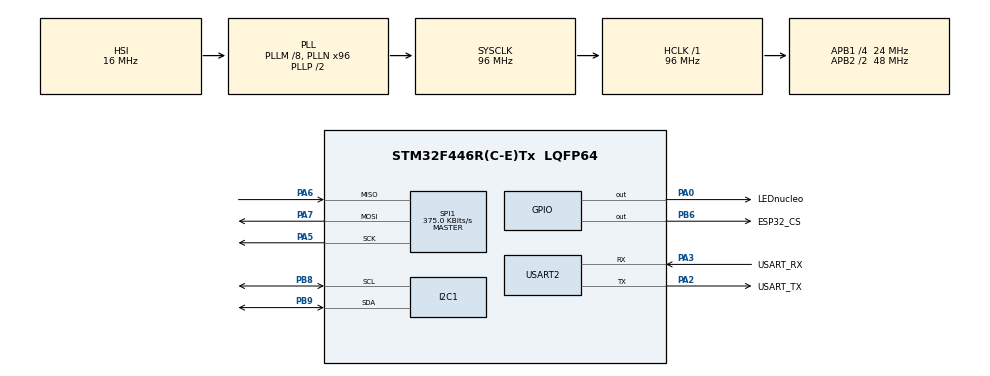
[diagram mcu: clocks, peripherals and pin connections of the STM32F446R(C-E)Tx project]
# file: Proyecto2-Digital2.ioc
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Mcu.Family=STM32F4
Mcu.Name=STM32F446R(C-E)Tx
Mcu.Package=LQFP64
NVIC.PriorityGroup=NVIC_PRIORITYGROUP_0
NVIC.TIM6_DAC_IRQn=true\:0\:0\:false\:false\:true\:true\:true\:true
NVIC.USART2_IRQn=true\:0\:0\:false\:false\:true\:true\:true\:true
PA0-WKUP.GPIO_Label=LEDnucleo
PA0-WKUP.Signal=GPIO_Output
PA13.GPIO_Label=TMS
PA13.Signal=SYS_JTMS-SWDIO
PA14.GPIO_Label=TCK
PA14.Signal=SYS_JTCK-SWCLK
PA2.GPIO_Label=USART_TX
PA2.Mode=Asynchronous
PA2.Signal=USART2_TX
PA3.GPIO_Label=USART_RX
PA3.Mode=Asynchronous
PA3.Signal=USART2_RX
PA5.Mode=Full_Duplex_Master
PA5.Signal=SPI1_SCK
PA6.Mode=Full_Duplex_Master
PA6.Signal=SPI1_MISO
PA7.Mode=Full_Duplex_Master
PA7.Signal=SPI1_MOSI
PB3.GPIO_Label=SWO
PB3.Signal=SYS_JTDO-SWO
PB6.GPIO_Label=ESP32_CS
PB6.GPIO_Speed=GPIO_SPEED_FREQ_HIGH
PB6.PinState=GPIO_PIN_SET
PB6.Signal=GPIO_Output
PB8.Mode=I2C
PB8.Signal=I2C1_SCL
PB9.Mode=I2C
PB9.Signal=I2C1_SDA
PC14-OSC32_IN.Signal=RCC_OSC32_IN
PC15-OSC32_OUT.Signal=RCC_OSC32_OUT
PH0-OSC_IN.Signal=RCC_OSC_IN
PH1-OSC_OUT.Signal=RCC_OSC_OUT
ProjectManager.HeapSize=0x200
ProjectManager.StackSize=0x400
ProjectManager.TargetToolchain=STM32CubeIDE
RCC.AHBFreq_Value=96000000
RCC.APB1CLKDivider=RCC_HCLK_DIV4
RCC.APB1Freq_Value=24000000
RCC.APB1TimFreq_Value=48000000
RCC.APB2CLKDivider=RCC_HCLK_DIV2
RCC.APB2Freq_Value=48000000
RCC.APB2TimFreq_Value=96000000
RCC.CortexFreq_Value=96000000
RCC.FLatency-AdvancedSettings=FLASH_LATENCY_3
RCC.HCLKFreq_Value=96000000
RCC.HSE_VALUE=8000000
RCC.HSI_VALUE=16000000
RCC.LSE_VALUE=32768
RCC.PLLM=8
RCC.PLLN=96
RCC.SYSCLKFreq_VALUE=96000000
RCC.SYSCLKSource=RCC_SYSCLKSOURCE_PLLCLK
RCC.USBFreq_Value=96000000
RCC.VCOOutputFreq_Value=192000000
SPI1.BaudRatePrescaler=SPI_BAUDRATEPRESCALER_128
SPI1.CalculateBaudRate=375.0 KBits/s
SPI1.Direction=SPI_DIRECTION_2LINES
SPI1.Mode=SPI_MODE_MASTER
SPI1.VirtualType=VM_MASTER
TIM6.AutoReloadPreload=TIM_AUTORELOAD_PRELOAD_ENABLE
TIM6.Period=500-1
TIM6.Prescaler=48000-1
USART2.VirtualMode=VM_ASYNC
VP_TIM6_VS_ClockSourceINT.Mode=Enable_Timer
board=NUCLEO-F446RE

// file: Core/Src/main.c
/* USER CODE BEGIN Header */
/**
  ******************************************************************************
  * @file           : main.c
  * @brief          : Main program body
  ******************************************************************************
  * @attention
  *
  * Copyright (c) 2026 STMicroelectronics.
  * All rights reserved.
  *
  * This software is licensed under terms that can be found in the LICENSE file
  * in the root directory of this software component.
  * If no LICENSE file comes with this software, it is provided AS-IS.
  *
  ******************************************************************************
  */
/* USER CODE END Header */
#include "main.h"

/* USER CODE BEGIN Includes */
#include <stdint.h>
#include <stdio.h>
#include <stdbool.h>
#include <ctype.h>
#include <string.h>
#include <stdlib.h>

/* USER CODE END Includes */

/* USER CODE BEGIN PD */

#define ESP32_I2C_ADDR (0x28U << 1) //Dirección del ESP32 pero desplazada un bit a la izquierda

/* USER CODE END PD */

I2C_HandleTypeDef hi2c1;

SPI_HandleTypeDef hspi1;

TIM_HandleTypeDef htim6;

UART_HandleTypeDef huart2;

/* USER CODE BEGIN PV */
//INTRODUCCIÓN DEL MENÚ
uint8_t inicio=0;
uint8_t intro[]="Escoger una de las opciones:\r\n";
uint8_t opcion1[]="1. Controlar dispostivo SPI\r\n";
uint8_t opcion2[]="2. Obtener mediciones de sensor I2C\r\n";
uint8_t respuesta[1];
uint8_t res1[]="Usted ha escogido controlar el dispositivo SPI\r\n";
uint8_t res2[]="Usted ha escogido obtener las mediciones del sensor I2C\r\n";
uint8_t error[]="Error! Prueba otra vez!\r\n";

//OPCIÓN 1
uint8_t intro2[]="En esta parte debe enviar numeros enteros. No incluya dimensionales y separe sus respuesta con coma. Por ejemplo: '1,500'.\r\n";
uint8_t pregLED[]="Escoja el LED que desea encender: verde (1), amarillo (2), rojo (3)\r\n";
uint8_t pregTIEM[]="Escoja la cantidad de tiempo que desea encender el LED en milisegundos\r\n";

char buffer[16];
uint8_t txSPI[4];
uint8_t rxSPI[4];
long ms, led;

/* USER CODE END PV */

void SystemClock_Config(void);
static void MX_GPIO_Init(void);
static void MX_USART2_UART_Init(void);
static void MX_SPI1_Init(void);
static void MX_TIM6_Init(void);
static void MX_I2C1_Init(void);
/* USER CODE BEGIN PFP */
bool esNumero(const char *s);
uint8_t leerLinea(char *buf, uint8_t max);
static void enviarTexto(const char *texto);
static void medirPotenciometro(void);

/* USER CODE END PFP */

/* USER CODE BEGIN 0 */

// Comunicación con el I2C
static void enviarTexto(const char *texto){
  HAL_UART_Transmit(&huart2, (uint8_t *)texto, (uint16_t)strlen(texto), 100);
  	  //*texto = puntero, dónde empieza el texto
  	  //strlen mide cuántos caracteres tiene
}

static void medirPotenciometro(void){
  uint8_t comando = 'M';
  uint8_t respuesta[2] = {0, 0};
  uint16_t lectura;
  char mensaje[80];

  /* Solicitar una nueva medicion al ESP32. */
  if (HAL_I2C_Master_Transmit(&hi2c1, ESP32_I2C_ADDR, &comando, 1, 100) != HAL_OK){ //Nucleo manda M y si no está bien = error
    enviarTexto("\r\nError: el ESP32 no recibio la solicitud I2C.\r\n");
    return;
  }

  /* Esperar a que el ESP32 lo lea y de la respuesta  */
  HAL_Delay(20);

  if (HAL_I2C_Master_Receive(&hi2c1, ESP32_I2C_ADDR, respuesta, 2, 100) != HAL_OK)  { //Pide 2 bytes y los guarda en respuesta
    enviarTexto("\r\nError: no se recibio la medicion I2C.\r\n");
    return;
  }

  lectura = ((uint16_t)respuesta[0] << 8) | respuesta[1]; //Une 2 bytes en un solo número

  //Seguridad, no más de 4095
  if (lectura > 4095U)  {
    enviarTexto("\r\nError: medicion fuera del rango del ADC.\r\n");
    return;
  }

  //Armar texto
  snprintf(mensaje,
           sizeof(mensaje),
           "\r\nPot1: %u (ADC 0-4095); valor LCD: %u (0-255)\r\n",
           (unsigned int)lectura,
           (unsigned int)(lectura / 16U));

  enviarTexto(mensaje);
}

/* USER CODE END 0 */

int main(void)
{

  /* MCU Configuration--------------------------------------------------------*/

  /* Reset of all peripherals, Initializes the Flash interface and the Systick. */
  HAL_Init();

  /* Configure the system clock */
  SystemClock_Config();

  /* Initialize all configured peripherals */
  MX_GPIO_Init();
  MX_USART2_UART_Init();
  MX_SPI1_Init();
  MX_TIM6_Init();
  MX_I2C1_Init();

  /* Infinite loop */
  /* USER CODE BEGIN WHILE */
  while (1)
  {
	  if(inicio==0){
		  //Introducción
		  HAL_UART_Transmit(&huart2, intro, sizeof(intro), 1000);
		  HAL_UART_Transmit(&huart2, opcion1, sizeof(opcion1), 1000);
		  HAL_UART_Transmit(&huart2, opcion2, sizeof(opcion2), 1000);
		  HAL_UART_Receive(&huart2, respuesta, 1, HAL_MAX_DELAY);

		  //Recepción de respuesta
		  //Opción 1
		  if(respuesta[0]=='1'){
			  HAL_UART_Transmit(&huart2, res1, sizeof(res1), 1000);
			  inicio=1;

			  HAL_UART_Transmit(&huart2, intro2, sizeof(intro2), 1000);
			  HAL_UART_Transmit(&huart2, pregLED, sizeof(pregLED), 1000);
			  HAL_UART_Transmit(&huart2, pregTIEM, sizeof(pregTIEM), 1000);

			  //Verificar que la respuesta sea válida
			  leerLinea(buffer, sizeof(buffer));

			  // Validar
			  bool valido = false;
			  char *t1 = strtok(buffer, ","); //STRTOK corta en pedazos
			  char *t2 = strtok(NULL, ","); //NULL = mismo texto
			  if (t1 && t2 && esNumero(t1) && esNumero(t2)) { //¿Existen ambos pedazos? ¿Ambos son números?
			      led = atol(t1);
			      ms  = atol(t2);
			      valido = (led >= 1 && led <= 3 && ms > 0 && ms <= 65535); //Valor de tiempo entre 0 y 65535 (max de 2 bytes)
			  }

			  if (valido) {
			  //[LED, ms_alto, ms_bajo, 0]
			      txSPI[0] = (uint8_t)led;
			      txSPI[1] = (uint8_t)(ms >> 8); //alto
			      txSPI[2] = (uint8_t)(ms & 0xFF); //bajo
			      txSPI[3] = 0; //relleno

			      HAL_GPIO_WritePin(ESP32_CS_GPIO_Port, ESP32_CS_Pin, GPIO_PIN_RESET);
			      HAL_SPI_TransmitReceive(&hspi1, txSPI, rxSPI, 4, 1000);
			      HAL_GPIO_WritePin(ESP32_CS_GPIO_Port, ESP32_CS_Pin, GPIO_PIN_SET);

			   //Generar señal cuadrada
			      HAL_TIM_Base_Stop_IT(&htim6);
			      __HAL_TIM_SET_AUTORELOAD(&htim6, ms-1); //Da 1000 pulsos por segundo
			      __HAL_TIM_SET_COUNTER(&htim6, 0); //Reinicia cuenta en 0
			      HAL_TIM_GenerateEvent(&htim6, TIM_EVENTSOURCE_UPDATE); //Carga nuevo valor y borra alarma
			      __HAL_TIM_CLEAR_FLAG(&htim6, TIM_FLAG_UPDATE);
			      HAL_GPIO_WritePin(LEDnucleo_GPIO_Port, LEDnucleo_Pin, GPIO_PIN_RESET);
			      HAL_TIM_Base_Start_IT(&htim6);

			  }

			  else {
				  HAL_UART_Transmit(&huart2, error, sizeof(error), 1000);
				      // Volver al menú
			  }
			  inicio = 0;
		  }

		  //Opción 2
		  else if(respuesta[0]=='2'){
			  HAL_UART_Transmit(&huart2, res2, sizeof(res2), 1000);
			  inicio=1;
			  medirPotenciometro();
		  }

		  //Opción inválida
		  else{
			  HAL_UART_Transmit(&huart2, error, sizeof(error), 1000);
		  }
		  inicio=0;

	  }

    /* USER CODE END WHILE */

  }
}

void SystemClock_Config(void)
{
  RCC_OscInitTypeDef RCC_OscInitStruct = {0};
  RCC_ClkInitTypeDef RCC_ClkInitStruct = {0};

  /** Configure the main internal regulator output voltage
  */
  __HAL_RCC_PWR_CLK_ENABLE();
  __HAL_PWR_VOLTAGESCALING_CONFIG(PWR_REGULATOR_VOLTAGE_SCALE3);

  /** Initializes the RCC Oscillators according to the specified parameters
  * in the RCC_OscInitTypeDef structure.
  */
  RCC_OscInitStruct.OscillatorType = RCC_OSCILLATORTYPE_HSI;
  RCC_OscInitStruct.HSIState = RCC_HSI_ON;
  RCC_OscInitStruct.HSICalibrationValue = RCC_HSICALIBRATION_DEFAULT;
  RCC_OscInitStruct.PLL.PLLState = RCC_PLL_ON;
  RCC_OscInitStruct.PLL.PLLSource = RCC_PLLSOURCE_HSI;
  RCC_OscInitStruct.PLL.PLLM = 8;
  RCC_OscInitStruct.PLL.PLLN = 96;
  RCC_OscInitStruct.PLL.PLLP = RCC_PLLP_DIV2;
  RCC_OscInitStruct.PLL.PLLQ = 2;
  RCC_OscInitStruct.PLL.PLLR = 2;
  if (HAL_RCC_OscConfig(&RCC_OscInitStruct) != HAL_OK)
  {
    Error_Handler();
  }

  /** Initializes the CPU, AHB and APB buses clocks
  */
  RCC_ClkInitStruct.ClockType = RCC_CLOCKTYPE_HCLK|RCC_CLOCKTYPE_SYSCLK
                              |RCC_CLOCKTYPE_PCLK1|RCC_CLOCKTYPE_PCLK2;
  RCC_ClkInitStruct.SYSCLKSource = RCC_SYSCLKSOURCE_PLLCLK;
  RCC_ClkInitStruct.AHBCLKDivider = RCC_SYSCLK_DIV1;
  RCC_ClkInitStruct.APB1CLKDivider = RCC_HCLK_DIV4;
  RCC_ClkInitStruct.APB2CLKDivider = RCC_HCLK_DIV2;

  if (HAL_RCC_ClockConfig(&RCC_ClkInitStruct, FLASH_LATENCY_3) != HAL_OK)
  {
    Error_Handler();
  }
}

static void MX_I2C1_Init(void)
{

  hi2c1.Instance = I2C1;
  hi2c1.Init.ClockSpeed = 100000;
  hi2c1.Init.DutyCycle = I2C_DUTYCYCLE_2;
  hi2c1.Init.OwnAddress1 = 0;
  hi2c1.Init.AddressingMode = I2C_ADDRESSINGMODE_7BIT;
  hi2c1.Init.DualAddressMode = I2C_DUALADDRESS_DISABLE;
  hi2c1.Init.OwnAddress2 = 0;
  hi2c1.Init.GeneralCallMode = I2C_GENERALCALL_DISABLE;
  hi2c1.Init.NoStretchMode = I2C_NOSTRETCH_DISABLE;
  if (HAL_I2C_Init(&hi2c1) != HAL_OK)
  {
    Error_Handler();
  }

}

static void MX_SPI1_Init(void)
{

  /* SPI1 parameter configuration*/
  hspi1.Instance = SPI1;
  hspi1.Init.Mode = SPI_MODE_MASTER;
  hspi1.Init.Direction = SPI_DIRECTION_2LINES;
  hspi1.Init.DataSize = SPI_DATASIZE_8BIT;
  hspi1.Init.CLKPolarity = SPI_POLARITY_LOW;
  hspi1.Init.CLKPhase = SPI_PHASE_1EDGE;
  hspi1.Init.NSS = SPI_NSS_SOFT;
  hspi1.Init.BaudRatePrescaler = SPI_BAUDRATEPRESCALER_128;
  hspi1.Init.FirstBit = SPI_FIRSTBIT_MSB;
  hspi1.Init.TIMode = SPI_TIMODE_DISABLE;
  hspi1.Init.CRCCalculation = SPI_CRCCALCULATION_DISABLE;
  hspi1.Init.CRCPolynomial = 10;
  if (HAL_SPI_Init(&hspi1) != HAL_OK)
  {
    Error_Handler();
  }

}

static void MX_TIM6_Init(void)
{

  TIM_MasterConfigTypeDef sMasterConfig = {0};

  htim6.Instance = TIM6;
  htim6.Init.Prescaler = 48000-1;
  htim6.Init.CounterMode = TIM_COUNTERMODE_UP;
  htim6.Init.Period = 500-1;
  htim6.Init.AutoReloadPreload = TIM_AUTORELOAD_PRELOAD_ENABLE;
  if (HAL_TIM_Base_Init(&htim6) != HAL_OK)
  {
    Error_Handler();
  }
  sMasterConfig.MasterOutputTrigger = TIM_TRGO_RESET;
  sMasterConfig.MasterSlaveMode = TIM_MASTERSLAVEMODE_DISABLE;
  if (HAL_TIMEx_MasterConfigSynchronization(&htim6, &sMasterConfig) != HAL_OK)
  {
    Error_Handler();
  }

}

static void MX_USART2_UART_Init(void)
{

  huart2.Instance = USART2;
  huart2.Init.BaudRate = 115200;
  huart2.Init.WordLength = UART_WORDLENGTH_8B;
  huart2.Init.StopBits = UART_STOPBITS_1;
  huart2.Init.Parity = UART_PARITY_NONE;
  huart2.Init.Mode = UART_MODE_TX_RX;
  huart2.Init.HwFlowCtl = UART_HWCONTROL_NONE;
  huart2.Init.OverSampling = UART_OVERSAMPLING_16;
  if (HAL_UART_Init(&huart2) != HAL_OK)
  {
    Error_Handler();
  }

}

static void MX_GPIO_Init(void)
{
  GPIO_InitTypeDef GPIO_InitStruct = {0};

  /* GPIO Ports Clock Enable */
  __HAL_RCC_GPIOC_CLK_ENABLE();
  __HAL_RCC_GPIOH_CLK_ENABLE();
  __HAL_RCC_GPIOA_CLK_ENABLE();
  __HAL_RCC_GPIOB_CLK_ENABLE();

  /*Configure GPIO pin Output Level */
  HAL_GPIO_WritePin(LEDnucleo_GPIO_Port, LEDnucleo_Pin, GPIO_PIN_RESET);

  /*Configure GPIO pin Output Level */
  HAL_GPIO_WritePin(ESP32_CS_GPIO_Port, ESP32_CS_Pin, GPIO_PIN_SET);

  /*Configure GPIO pin : LEDnucleo_Pin */
  GPIO_InitStruct.Pin = LEDnucleo_Pin;
  GPIO_InitStruct.Mode = GPIO_MODE_OUTPUT_PP;
  GPIO_InitStruct.Pull = GPIO_NOPULL;
  GPIO_InitStruct.Speed = GPIO_SPEED_FREQ_LOW;
  HAL_GPIO_Init(LEDnucleo_GPIO_Port, &GPIO_InitStruct);

  /*Configure GPIO pin : ESP32_CS_Pin */
  GPIO_InitStruct.Pin = ESP32_CS_Pin;
  GPIO_InitStruct.Mode = GPIO_MODE_OUTPUT_PP;
  GPIO_InitStruct.Pull = GPIO_NOPULL;
  GPIO_InitStruct.Speed = GPIO_SPEED_FREQ_HIGH;
  HAL_GPIO_Init(ESP32_CS_GPIO_Port, &GPIO_InitStruct);

}

/* USER CODE BEGIN 4 */

//Lee texto que recive carácter por carácter
uint8_t leerLinea(char *buf, uint8_t max) {
    uint8_t c, idx = 0; //c=carácter que acaba de llegar, idx=cuántos caracteres llevamos
    uint8_t crlf[] = "\r\n";

    while (1) {
        // Espera hasta 1s por el siguiente carácter
        HAL_StatusTypeDef st = HAL_UART_Receive(&huart2, &c, 1, 1000); //¿Llegó algo? ¿Se acabó el tiempo?

        if (st == HAL_OK) {
            if (c == '\r' || c == '\n') {
                if (idx > 0) break;      // terminó con Enter
                continue;                // ignora Enter sobrante
            }
            HAL_UART_Transmit(&huart2, &c, 1, 100); //eco: caracter normal -> manda a la terminal
            if (idx < max - 1) buf[idx++] = c;
        }
        else {
            // Timeout: si ya hay datos, damos la línea por terminada
            if (idx > 0) break;
        }
    }

    buf[idx] = '\0'; //Final del texto
    HAL_UART_Transmit(&huart2, crlf, 2, 100);
    return idx;
}

//Revisar que sean dígitos
bool esNumero(const char *s) {
    if (*s == '\0') return false;
    while (*s) { if (!isdigit((unsigned char)*s)) return false; s++; }
    return true;
}

void HAL_TIM_PeriodElapsedCallback(TIM_HandleTypeDef *htim){
	if(htim==&htim6){
		HAL_GPIO_TogglePin(LEDnucleo_GPIO_Port, LEDnucleo_Pin);
	}
}
/* USER CODE END 4 */

void Error_Handler(void)
{
  __disable_irq();
  while (1)
  {
  }
}
